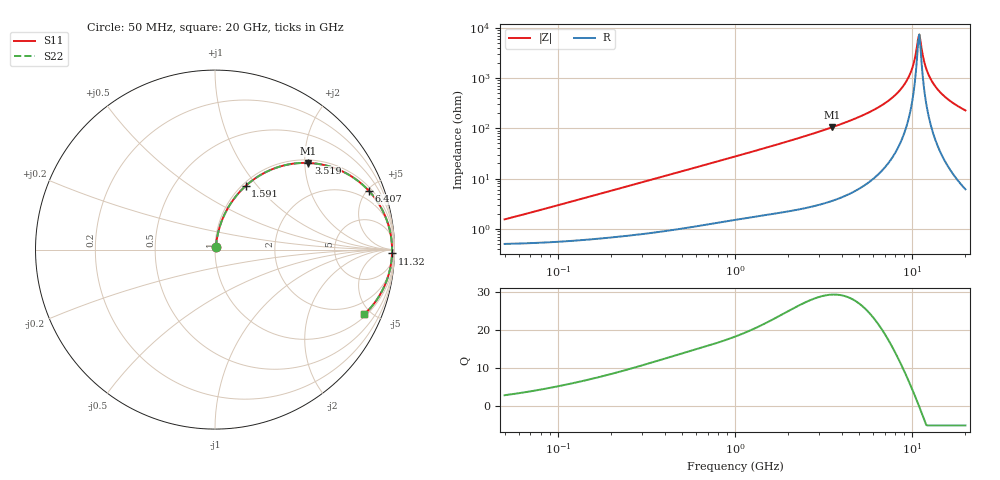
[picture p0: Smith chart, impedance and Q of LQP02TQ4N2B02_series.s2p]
!Murata Part Number: LQP02TQ4N2B02
!These Parameters are Measured in Series Mode Connection
!  o--[Z]--o
!Port1  Port2
!  o-------o
!Freq. Start=50[MHz] Stop=20[GHz], 401[Steps]
# Hz S RI R 50
!Freq.(Hz) S11(Real) S11(Imag) S21(Real) S21(Imag) S12(Real) S12(Imag) S22(Real) S22(Imag)
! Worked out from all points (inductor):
!   401 points, 50 MHz to 20 GHz, reference 50 ohm
!   read as one part in series: L = 4.62 nH near 52.3 MHz
!   highest Q = 29.3 at 3.519 GHz (marker M1), where L = 4.72 nH
!   self-resonance near 10.82 GHz
!   S11 on the Smith chart (normalised r, x): 50 MHz: 1.01, +0.03; 1.591 GHz: 1.04, +0.87; 3.519 GHz: 1.07, +2.09; 6.407 GHz: 1.24, +5.15; 11.32 GHz: 41, -66; 20 GHz: 1.12, -4.55
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5e7  0.00517 0.0144  0.9948 -0.0144  0.9948 -0.0144  0.00517 0.0144
1.364002e8  0.0074 0.0386  0.9926 -0.0386  0.9926 -0.0386  0.0074 0.0386
3.721004e8  0.019 0.1012  0.981 -0.1012  0.981 -0.1012  0.019 0.1012
1e9  0.0816 0.2478  0.9184 -0.2478  0.9184 -0.2478  0.0816 0.2478
1.590961e9  0.1709 0.3548  0.8291 -0.3548  0.8291 -0.3548  0.1709 0.3548
2.728004e9  0.3794 0.4677  0.6206 -0.4677  0.6206 -0.4677  0.3794 0.4677
3.519108e9  0.5204 0.4828  0.4796 -0.4828  0.4796 -0.4828  0.5204 0.4828
4.748272e9  0.6999 0.4406  0.3001 -0.4406  0.3001 -0.4406  0.6999 0.4406
6.406762e9  0.8582 0.3265  0.1418 -0.3265  0.1418 -0.3265  0.8582 0.3265
7.442007e9  0.9179 0.2466  0.0821 -0.2466  0.0821 -0.2466  0.9179 0.2466
8.516016e9  0.9567 0.1654  0.0433 -0.1654  0.0433 -0.1654  0.9567 0.1654
9.457416e9  0.9761 0.098  0.0239 -0.098  0.0239 -0.098  0.9761 0.098
1.004137e10  0.9828 0.0584  0.0172 -0.0584  0.0172 -0.0584  0.9828 0.0584
1.082228e10  0.9866 0.00844  0.0134 -0.00844  0.0134 -0.00844  0.9866 0.00844
1.098561e10  0.9867 -0.0016  0.0133 0.0016  0.0133 0.0016  0.9867 -0.0016
1.115139e10  0.9867 -0.0116  0.0133 0.0116  0.0133 0.0116  0.9867 -0.0116
1.131968e10  0.9864 -0.0217  0.0136 0.0217  0.0136 0.0217  0.9864 -0.0217
1.166392e10  0.9852 -0.0417  0.0148 0.0417  0.0148 0.0417  0.9852 -0.0417
1.220001e10  0.9819 -0.0717  0.0181 0.0717  0.0181 0.0717  0.9819 -0.0717
1.354865e10  0.9671 -0.1405  0.0329 0.1405  0.0329 0.1405  0.9671 -0.1405
1.597544e10  0.9243 -0.2426  0.0757 0.2426  0.0757 0.2426  0.9243 -0.2426
2e10  0.8314 -0.3612  0.1686 0.3612  0.1686 0.3612  0.8314 -0.3612
